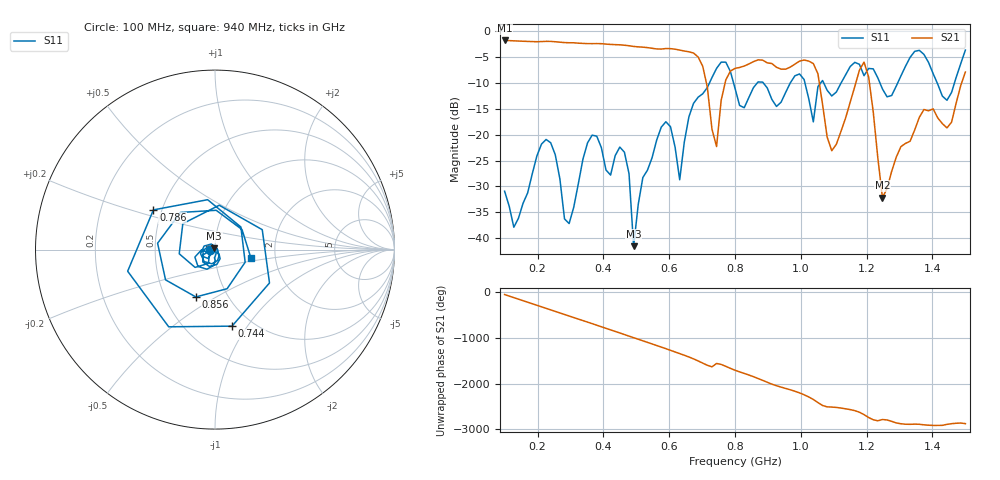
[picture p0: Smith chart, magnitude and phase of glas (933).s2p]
! NanoVNA-App
! Date: 2025-09-25 16:02:44
! Start: 100MHz Stop: 1,5GHz Points: 101
! S-Parameter data: F S11 S21 S12 S22
# Hz S RI R 50
!  Frequency  S11_Real  S11_Imag  S21_Real  S21_Imag  S12_Real  S12_Imag  S22_Real  S22_Imag
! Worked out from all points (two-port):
!   101 points, 100 MHz to 1.5 GHz, reference 50 ohm
!   highest |S21| = -1.80 dB at 100 MHz (marker M1); lowest = -32.1 dB at 1.248 GHz (marker M2)
!   |S21| within 3 dB of the highest: start of sweep to 684.5 MHz
!   lowest |S11| = -41.5 dB at 492 MHz (marker M3), VSWR 1.02, Z = 49.5 + j0.64 ohm
!   |S11| at or under -10 dB: start of sweep to 722.5 MHz; 795.6 MHz to 867.6 MHz (72.08 MHz wide, 8.67 % of centre); 885.9 MHz to 968 MHz (82.08 MHz wide, 8.85 % of centre) (the widest 3 of 7)
!   S12 and S22 are empty: the file has one direction only
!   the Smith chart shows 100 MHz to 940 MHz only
!   S11 on the Smith chart (normalised r, x): 100 MHz: 0.94, -0.01; 744 MHz: 0.81, -0.85; 786 MHz: 0.45, +0.24; 856 MHz: 0.71, -0.41; 940 MHz: 1.49, -0.15
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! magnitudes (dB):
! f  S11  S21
! 100 MHz  -30.9  -1.8
! 128 MHz  -37.9  -1.9
! 226 MHz  -20.9  -2.0
! 296 MHz  -37.2  -2.2
! 338 MHz  -24.7  -2.4
! 464 MHz  -23.4  -2.7
! 492 MHz  -41.5  -3.0
! 576 MHz  -18.5  -3.5
! 632 MHz  -28.7  -3.7
! 702 MHz  -12.1  -6.8
! 744 MHz  -7.2  -22.3
! 786 MHz  -7.8  -7.7
! 800 MHz  -11.0  -7.2
! 856 MHz  -10.9  -5.9
! 940 MHz  -13.7  -7.3
! 996 MHz  -8.3  -5.8
! 1.038 GHz  -17.5  -6.3
! 1.094 GHz  -12.5  -23.1
! 1.192 GHz  -8.6  -6.0
! 1.248 GHz  -11.2  -32.1
! 1.276 GHz  -12.4  -27.1
! 1.5 GHz  -3.7  -7.9
